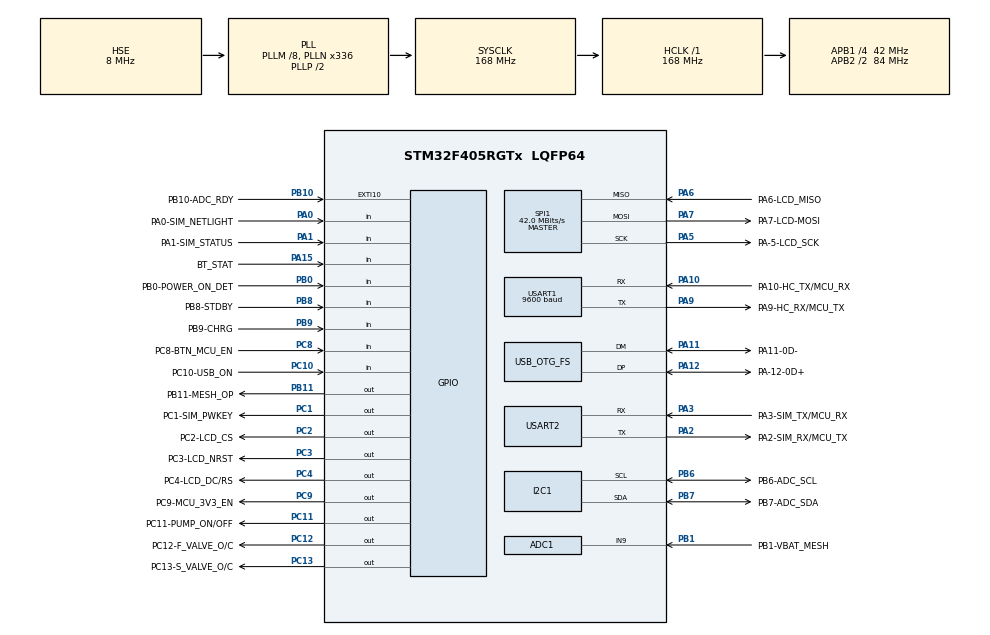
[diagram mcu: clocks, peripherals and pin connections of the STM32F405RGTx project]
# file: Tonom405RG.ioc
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ADC1.Channel-0\#ChannelRegularConversion=ADC_CHANNEL_9
ADC1.NbrOfConversionFlag=1
ADC1.Rank-0\#ChannelRegularConversion=1
ADC1.SamplingTime-0\#ChannelRegularConversion=ADC_SAMPLETIME_3CYCLES
ADC1.master=1
Dma.Request0=SPI1_TX
Dma.SPI1_TX.0.Direction=DMA_MEMORY_TO_PERIPH
Dma.SPI1_TX.0.FIFOMode=DMA_FIFOMODE_ENABLE
Dma.SPI1_TX.0.FIFOThreshold=DMA_FIFO_THRESHOLD_FULL
Dma.SPI1_TX.0.Instance=DMA2_Stream3
Dma.SPI1_TX.0.MemBurst=DMA_MBURST_SINGLE
Dma.SPI1_TX.0.MemDataAlignment=DMA_MDATAALIGN_BYTE
Dma.SPI1_TX.0.MemInc=DMA_MINC_ENABLE
Dma.SPI1_TX.0.Mode=DMA_NORMAL
Dma.SPI1_TX.0.PeriphBurst=DMA_PBURST_SINGLE
Dma.SPI1_TX.0.PeriphDataAlignment=DMA_PDATAALIGN_BYTE
Dma.SPI1_TX.0.PeriphInc=DMA_PINC_DISABLE
Dma.SPI1_TX.0.Priority=DMA_PRIORITY_LOW
IWDG.Prescaler=IWDG_PRESCALER_64
Mcu.Family=STM32F4
Mcu.Name=STM32F405RGTx
Mcu.Package=LQFP64
NVIC.DMA2_Stream3_IRQn=true\:0\:0\:false\:false\:true\:false\:true\:true
NVIC.OTG_FS_IRQn=true\:0\:0\:false\:false\:true\:false\:true\:true
NVIC.PriorityGroup=NVIC_PRIORITYGROUP_4
NVIC.TIM2_IRQn=true\:0\:0\:false\:false\:true\:true\:true\:true
NVIC.TIM3_IRQn=true\:0\:0\:false\:false\:true\:true\:true\:true
NVIC.USART1_IRQn=true\:0\:0\:false\:false\:true\:true\:true\:true
PA0-WKUP.GPIO_Label=PA0-SIM_NETLIGHT
PA0-WKUP.Signal=GPIO_Input
PA1.GPIO_Label=PA1-SIM_STATUS
PA1.Signal=GPIO_Input
PA10.GPIO_Label=PA10-HC_TX/MCU_RX
PA10.Mode=Asynchronous
PA10.Signal=USART1_RX
PA11.GPIO_Label=PA11-0D-
PA11.GPIO_PuPd=GPIO_PULLDOWN
PA11.Mode=Device_Only
PA11.Signal=USB_OTG_FS_DM
PA12.GPIO_Label=PA-12-0D+
PA12.GPIO_PuPd=GPIO_PULLUP
PA12.Mode=Device_Only
PA12.Signal=USB_OTG_FS_DP
PA13.GPIO_Label=PA13-SWDIO
PA13.Mode=Serial_Wire
PA13.Signal=SYS_JTMS-SWDIO
PA14.GPIO_Label=PA14-SWCLK
PA14.Mode=Serial_Wire
PA14.Signal=SYS_JTCK-SWCLK
PA15.GPIO_Label=BT_STAT
PA15.Signal=GPIO_Input
PA2.GPIO_Label=PA2-SIM_RX/MCU_TX
PA2.Mode=Asynchronous
PA2.Signal=USART2_TX
PA3.GPIO_Label=PA3-SIM_TX/MCU_RX
PA3.Mode=Asynchronous
PA3.Signal=USART2_RX
PA5.GPIO_Label=PA-5-LCD_SCK
PA5.Mode=Full_Duplex_Master
PA5.Signal=SPI1_SCK
PA6.GPIO_Label=PA6-LCD_MISO
PA6.Mode=Full_Duplex_Master
PA6.Signal=SPI1_MISO
PA7.GPIO_Label=PA7-LCD-MOSI
PA7.Mode=Full_Duplex_Master
PA7.Signal=SPI1_MOSI
PA9.GPIO_Label=PA9-HC_RX/MCU_TX
PA9.Mode=Asynchronous
PA9.Signal=USART1_TX
PB0.GPIO_Label=PB0-POWER_ON_DET
PB0.Signal=GPIO_Input
PB1.GPIO_Label=PB1-VBAT_MESH
PB1.Signal=SharedAnalog_PB1
PB10.GPIO_Label=PB10-ADC_RDY
PB10.Signal=GPXTI10
PB11.GPIO_Label=PB11-MESH_OP
PB11.Signal=GPIO_Output
PB6.GPIO_Label=PB6-ADC_SCL
PB6.GPIO_Pu=GPIO_PULLUP
PB6.Mode=I2C
PB6.Signal=I2C1_SCL
PB7.GPIO_Label=PB7-ADC_SDA
PB7.GPIO_Pu=GPIO_PULLUP
PB7.Mode=I2C
PB7.Signal=I2C1_SDA
PB8.GPIO_Label=PB8-STDBY
PB8.GPIO_PuPd=GPIO_PULLUP
PB8.Signal=GPIO_Input
PB9.GPIO_Label=PB9-CHRG
PB9.GPIO_PuPd=GPIO_PULLUP
PB9.Signal=GPIO_Input
PC1.GPIO_Label=PC1-SIM_PWKEY
PC1.Signal=GPIO_Output
PC10.GPIO_Label=PC10-USB_ON
PC10.Signal=GPIO_Input
PC11.GPIO_Label=PC11-PUMP_ON/OFF
PC11.Signal=GPIO_Output
PC12.GPIO_Label=PC12-F_VALVE_O/C
PC12.Signal=GPIO_Output
PC13-ANTI_TAMP.GPIO_Label=PC13-S_VALVE_O/C
PC13-ANTI_TAMP.Signal=GPIO_Output
PC14-OSC32_IN.Mode=LSE-External-Oscillator
PC14-OSC32_IN.Signal=RCC_OSC32_IN
PC15-OSC32_OUT.Mode=LSE-External-Oscillator
PC15-OSC32_OUT.Signal=RCC_OSC32_OUT
PC2.GPIO_Label=PC2-LCD_CS
PC2.Signal=GPIO_Output
PC3.GPIO_Label=PC3-LCD_NRST
PC3.Signal=GPIO_Output
PC4.GPIO_Label=PC4-LCD_DC/RS
PC4.Signal=GPIO_Output
PC8.GPIO_Label=PC8-BTN_MCU_EN
PC8.Signal=GPIO_Input
PC9.GPIO_Label=PC9-MCU_3V3_EN
PC9.Signal=GPIO_Output
PH0-OSC_IN.Mode=HSE-External-Oscillator
PH0-OSC_IN.Signal=RCC_OSC_IN
PH1-OSC_OUT.Mode=HSE-External-Oscillator
PH1-OSC_OUT.Signal=RCC_OSC_OUT
ProjectManager.HeapSize=0x2000
ProjectManager.StackSize=0x4000
ProjectManager.TargetToolchain=MDK-ARM V5.32
RCC.48MHZClocksFreq_Value=48000000
RCC.AHBFreq_Value=168000000
RCC.APB1CLKDivider=RCC_HCLK_DIV4
RCC.APB1Freq_Value=42000000
RCC.APB1TimFreq_Value=84000000
RCC.APB2CLKDivider=RCC_HCLK_DIV2
RCC.APB2Freq_Value=84000000
RCC.APB2TimFreq_Value=168000000
RCC.CortexFreq_Value=168000000
RCC.HCLKFreq_Value=168000000
RCC.HSE_VALUE=8000000
RCC.HSI_VALUE=16000000
RCC.PLLM=8
RCC.PLLN=336
RCC.PLLQ=7
RCC.RCC_RTC_Clock_Source=RCC_RTCCLKSOURCE_LSE
RCC.RCC_RTC_Clock_SourceVirtual=RCC_RTCCLKSOURCE_LSE
RCC.SYSCLKFreq_VALUE=168000000
RCC.SYSCLKSource=RCC_SYSCLKSOURCE_PLLCLK
RCC.VCOOutputFreq_Value=336000000
SH.SharedAnalog_PB1.0=GPIO_Analog
SH.SharedAnalog_PB1.1=ADC1_IN9,IN9
SPI1.BaudRatePrescaler=SPI_BAUDRATEPRESCALER_2
SPI1.CalculateBaudRate=42.0 MBits/s
SPI1.Direction=SPI_DIRECTION_2LINES
SPI1.Mode=SPI_MODE_MASTER
SPI1.VirtualType=VM_MASTER
TIM2.Period=31250-1
TIM2.Prescaler=21-1
TIM3.AutoReloadPreload=TIM_AUTORELOAD_PRELOAD_ENABLE
TIM3.Period=9999
TIM3.Prescaler=83
USART1.BaudRate=9600
USART1.VirtualMode=VM_ASYNC
USART2.VirtualMode=VM_ASYNC
USB_DEVICE.APP_RX_DATA_SIZE-CDC_FS=64
USB_DEVICE.APP_TX_DATA_SIZE-CDC_FS=64
USB_DEVICE.CLASS_NAME_FS=CDC
USB_DEVICE.PRODUCT_STRING_CDC_FS=Tonometer Virtual ComPort
USB_DEVICE.VirtualMode-CDC_FS=Cdc
USB_DEVICE.VirtualModeFS=Cdc_FS
USB_OTG_FS.VirtualMode=Device_Only
VP_IWDG_VS_IWDG.Mode=IWDG_Activate
VP_RTC_VS_RTC_Activate.Mode=RTC_Enabled
VP_RTC_VS_RTC_Calendar.Mode=RTC_Calendar
VP_TIM2_VS_ClockSourceINT.Mode=Internal
VP_TIM3_VS_ClockSourceINT.Mode=Internal
VP_USB_DEVICE_VS_USB_DEVICE_CDC_FS.Mode=CDC_FS
board=custom

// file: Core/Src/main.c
/* USER CODE BEGIN Header */
/**
  ******************************************************************************
  * @file           : main.c
  * @brief          : Main program body
  ******************************************************************************
  * @attention
  *
  * Copyright (c) 2023 STMicroelectronics.
  * All rights reserved.
  *
  * This software is licensed under terms that can be found in the LICENSE file
  * in the root directory of this software component.
  * If no LICENSE file comes with this software, it is provided AS-IS.
  *
  ******************************************************************************
  */
/* USER CODE END Header */
#include "main.h"
#include "adc.h"
#include "dma.h"
#include "i2c.h"
#include "iwdg.h"
#include "rtc.h"
#include "spi.h"
#include "tim.h"
#include "usart.h"
#include "usb_device.h"
#include "gpio.h"

/* USER CODE BEGIN Includes */
#include "ili9341.h"
#include "ADS1115.h"
#include "Display.h"
#include "DataProcessing.h"
/* USER CODE END Includes */

void SystemClock_Config(void);

/* USER CODE BEGIN 0 */
uint16_t pulse = 0;

uint32_t *ptrd;
uint8_t serial_num_string[SERIAL_NUM_SIZE]   = {'T','O','N','0','2','0','2','2','2','0','0','1',0};

int16_t puls_buff_NEW[50]={0};
int16_t puls_buff_AMP[50]={0};
int16_t puls_buff_AMP_MIN[50]={0};
int16_t puls_buff_IND_MIN[50]={0};

uint16_t frequency=128;

int16_t p_sys = 0;
int16_t p_dia = 0;
int16_t p_mean;
int index_p_sys = 0;
int index_p_dia = 0;
int16_t x_max;
int16_t current_pressure = 0;
int16_t i2c_out = 0;
int zero_value = 0;
uint8_t indicate_charge_toggle = 1;
uint8_t indicate_charge_counter = 1;
uint8_t bluetooth_status = 0;
uint8_t status_byte = 0;
uint8_t mode = INIT_START;
bool ble_data_ready = false;
uint8_t ble_buffer_counter = 0;
uint8_t sim800_FLAG=0;
uint8_t rang_batt_old = 99;
uint8_t send_buff[100]={0};
uint8_t buff097[10]={0};
uint16_t num_string=0;
uint16_t count_send_bluetooth=0;
short int ble_buffer[BLE_PACKET_SIZE] = {0};
short int pressure_array[MAIN_ARRAY_SIZE] = {0};
uint32_t main_index = 0;
uint32_t first_max;
uint32_t total_size = 0;
short int pressure_pulsation_array[MAIN_ARRAY_SIZE] = {0};
short int envelope_array[MAIN_ARRAY_SIZE] = {0};
uint32_t send_counter = 0;

uint8_t sim800_buffer[SIM800_BUFFER_SIZE] = {0};
uint16_t sim800_buf_counter;
uint8_t brace_counter;

int lock_counter = 0;

uint8_t usb_command;

float rate=24.1;
float rate_whole;
float rate_fract;

bool arrhythmia = false;
bool stop_meas = false;
bool overpumping = false;

uint8_t num_of_packet = 0;
uint8_t current_packet_num = 0;
uint8_t command;
uint8_t byte_num = 0;
uint8_t result_index = 0;
uint8_t index_in_packet = 0;
uint8_t checksum = 0;
uint8_t view_time = 1;

uint8_t mean_interval;

uint8_t get_number_mode = 0;
uint8_t allow_send_data = 0;
uint8_t send_serial_now = 0;

/* USER CODE END 0 */

int main(void)
{

  /* MCU Configuration--------------------------------------------------------*/

  /* Reset of all peripherals, Initializes the Flash interface and the Systick. */
  HAL_Init();

  /* Configure the system clock */
  SystemClock_Config();

  /* Initialize all configured peripherals */
  MX_GPIO_Init();
  MX_DMA_Init();
  MX_RTC_Init();
  MX_ADC1_Init();
  MX_USART1_UART_Init();
  MX_TIM2_Init();
  MX_IWDG_Init();
  MX_SPI1_Init();
  MX_I2C1_Init();
  MX_USART2_UART_Init();
  MX_USB_DEVICE_Init();
  MX_TIM3_Init();
  /* USER CODE BEGIN 2 */
  ILI9341_Init();
  InitADC();
  HAL_TIM_Base_Start_IT(&htim2);
  HAL_TIM_Base_Start_IT(&htim3);

/*  at24_HAL_WriteBytes(&hi2c1, EEPROM_BASE_ADDR, EEPROM_SERIAL_ADDR, serial_num_string, SERIAL_NUM_SIZE);

  at24_HAL_ReadBytes(&hi2c1, EEPROM_BASE_ADDR, EEPROM_SERIAL_ADDR, serial_num_string, SERIAL_NUM_SIZE);

  if ((uint32_t*)serial_num_string != 0xFFFFFFFF)
  {
       at24_HAL_ReadBytes(&hi2c1, EEPROM_BASE_ADDR, EEPROM_RATE_ADDR, &rate, sizeof(float));
  }*/

  __HAL_UART_ENABLE_IT(&huart1, UART_IT_RXNE); //М.б. не нужно? Проверить
  __HAL_UART_ENABLE_IT(&huart2, UART_IT_RXNE); //М.б. не нужно? Проверить

    if (mode == USB_CHARGING)
    {
        ILI9341_FillScreen(ILI9341_BLACK);
        print_battery();
    }
    else ILI9341_FillScreen(ILI9341_WHITE);
    Calibration();

  /* USER CODE END 2 */

  /* Infinite loop */
  while (1)
  {

    /* USER CODE BEGIN 3 */
        HAL_IWDG_Refresh(&hiwdg);
        switch (mode)
        {
            case INIT_START:
                HAL_TIM_Base_Start_IT(&htim2);
                if (!button_pressed)
                {
                    mode = START_SCREEN;
//                    mode = PRESSURE_TEST;
                    allow_send_data = 0;
                    button_released = 0;
                    button_pressed_counter = 0;
                }
                break;
            case START_SCREEN:
                BluetoothCheck();
                TFT_print();
// Переход в режим зарядки при подключении USB разъема
#ifndef DEBUG
                if (HAL_GPIO_ReadPin(GPIOC, GPIO_PIN_10))
                {
                    ILI9341_FillScreen(ILI9341_BLACK);
                    print_battery();
                    mode = USB_CHARGING;
                }
#endif
                if (button_released)
                {
                    view_time = 0;
//                    HAL_UART_Transmit_IT(&huart2, "AT\r", 3);

                    ILI9341_FillRectangle(0, 0, 240, 280, ILI9341_WHITE);
                    ILI9341_FillRectangle(100, 270, 140, 50, ILI9341_WHITE);

                    count_send_bluetooth=0;

                    current_pressure=0;
                    Calibration();
                    PUMP_ON;
                    VALVE_FAST_CLOSE;
                    VALVE_SLOW_CLOSE;
                    lock_interval=50;
                    ResetDetector();
                    puls_counter=0;
                    stop_meas = false;
                    mode = PUMPING_MANAGEMENT;
                    button_released = 0;
                    button_pressed_counter = 0;
                }
                break;
            case KEY_OFF:
                DeviceOff();
                break;
            case PUMPING_MANAGEMENT:
                shutdown_counter = 0;
                ILI9341_FillRectangle(65, 245, 45, 27, ILI9341_WHITE);

                if (button_released)
                {
                    if (current_pressure < MAX_ALLOWED_PRESSURE) overpumping = false;
                    if (overpumping)
                    {
                        StopPumping();
                        break;
                    }
                    else AbortMeas();
                }
                if (show_pressure_counter == 0)
                {
                    show_pressure_counter = SHOW_PRESSURE_INTERVAL;
                    if (current_pressure >= 0 & current_pressure<400) PrintNum(current_pressure, BIG_NUM_RIGHT, DIA_TOP, GREEN);
                }

                if (!overpumping)
                {
                    if (current_pressure >= MAX_ALLOWED_PRESSURE && process_counter > MIN_PUMPING_INTERVAL)
                    {
                        StopPumping();
                    }
                }
                if (current_pressure >= SUPER_MAX_ALLOWED_PRESSURE)
                {
                    StopPumping();
                }
                BluetoothCheck();
                break;
            case USB_CHARGING:
                shutdown_counter = 0;
                PrintBattCharge();
                HAL_Delay(1500);
                if (HAL_GPIO_ReadPin(GPIOC, GPIO_PIN_10)==0) DeviceOff();
                break;
            case PRESSURE_TEST:
                shutdown_counter = 0;
                GetADCData(false);
                PrintNum(current_pressure, BIG_NUM_RIGHT, DIA_TOP, GREEN);
                if (allow_send_data == 1) usb_send_16(i2c_out,0);
                HAL_Delay(200);

                PrintTime();
                ILI9341_WriteString(TIME_LEFT, TIME_TOP + 25, serial_num_string, Font_Arial, ILI9341_BLACK, ILI9341_WHITE);
                if (usb_command == USB_COMMAND_SET_RATE)
                {
                    rate = rate_whole + rate_fract / 100;
                    at24_HAL_WriteBytes(&hi2c1, EEPROM_BASE_ADDR, EEPROM_RATE_ADDR, rate, sizeof(float));
                    mode = KEY_OFF;
                }
                break;
            case MEASUREMENT:
                shutdown_counter = 0;
                if (button_released)
                {
                    if (current_pressure < MAX_ALLOWED_PRESSURE + 5) AbortMeas();
                    button_pressed_counter = 0;
                    button_released = 0;
                    overpumping = false;
                }
                if (show_pressure_counter == 0)
                {
                    show_pressure_counter = SHOW_PRESSURE_INTERVAL;
                    if (current_pressure>=0 & current_pressure<400) PrintNum(current_pressure, BIG_NUM_RIGHT, DIA_TOP, GREEN);
                }
                if (ble_data_ready)
                {
                    if (count_send_bluetooth < 2)
                    {
                        ble_data_ready = false;
                        count_send_bluetooth++;
                    }
                    else
                    {
                        ble_data_ready = false;
                        uint8_t c_summ=0;
                        uint8_t cur_buff_ble[400]={'0', '2', 0x05, (count_send_bluetooth - 2) & 0xFF, ((count_send_bluetooth - 2) >> 8) & 0xFF, BLE_PACKET_SIZE};

                        for (int f = 0; f < BLE_PACKET_SIZE; f++)
                        {
                            int16_t cur_press = ble_buffer[f];
                            cur_buff_ble[6 + f * 2] = cur_press & 0xFF;
                            cur_buff_ble[6 + f * 2 + 1] = (cur_press >> 8) & 0xFF;
                        }
                        for (int f=0; f < BLE_PACKET_SIZE * 2 + 6; f++)
                        {
                            c_summ+=cur_buff_ble[f];
                        }
                        cur_buff_ble[BLE_PACKET_SIZE * 2 + 6] = c_summ;
                        HAL_UART_Transmit_IT(&huart1, cur_buff_ble, BLE_PACKET_SIZE * 2 + 6 + 1);
                        count_send_bluetooth++;
                    }
                }
                if (current_pressure <= STOP_MEAS_LEVEL || stop_meas)
                {
                    total_size = main_index;
                    current_max=0;
                    global_max=0;
                    detect_level=detect_level_start;
                    silence_time_start=0;
                    puls_counter=0;

                    for (int i = 0; i < total_size; i++)
                    {
                        Detect(first_max, i);
                    }

                    ILI9341_FillRectangle(SYS_DIA_LEFT, SYS_TOP, 180, 106, ILI9341_WHITE);
                    ILI9341_FillRectangle(SYS_DIA_LEFT, DIA_TOP, 180, 106, ILI9341_WHITE);
                    ILI9341_FillRectangle(PULSE_LEFT, PULSE_TOP, 123, 64, ILI9341_WHITE);

                    memset(envelope_array, 0, MAIN_ARRAY_SIZE);
                    GetArrayOfWaveIndexes(pressure_pulsation_array, puls_buff, puls_buff_NEW);
                    f_sorting_MAX();
                    CountEnvelopeArray(puls_buff_NEW,puls_buff_AMP);

                    pulse = CountPulse();
                    GetSysDia();
                    status_byte=0;
                    if (p_sys > MIN_SYS &
                        p_sys < MAX_SYS &
                        p_dia > MIN_DIA &
                        p_dia < MAX_DIA &
                        pulse > MIN_PULSE &
                        pulse < MAX_PULSE)
                    {
                        PrintSYS_label(true);
                        PrintDIA_label(true);
                        PrintSYS(p_sys);
                        PrintDIA(p_dia);
                        PrintNum((int16_t)pulse, BIG_NUM_RIGHT, PULSE_TOP, BLACK);

                        if (arrhythmia)
                        {
                            PrintHeartX3(true);
                            status_byte |= IRREG_PULSE;
                        }
                        SendResultAT();
                    }
                    else
                    {
                        status_byte|=0x80;
                        PrintError(ERROR_MEAS);
                    }
                    SendMeasurementResult((uint8_t)p_sys, (uint8_t)p_dia, (uint8_t)pulse,status_byte);
                    SendResultHttp(p_sys, p_dia, pulse);
                    VALVE_FAST_OPEN;
                    VALVE_SLOW_OPEN;
#ifdef DEBUG
                    mode = SEND_SAVE_BUFF_MSG;
#else
                        mode = INIT_START;
#endif
                }
                BluetoothCheck();
                break;
            case SEND_SAVE_BUFF_MSG:
                shutdown_counter = 0;
                break;
        }

        if (uart1_count > 0)
        {
           __HAL_UART_DISABLE_IT(&huart1, UART_IT_RXNE);
           BLECommandsReceiver(uart1_buff);
           __HAL_UART_ENABLE_IT(&huart1, UART_IT_RXNE);
        }

        if (show_heart)
        {
            PrintHeart(true);
            show_heart = false;
        }

        if (erase_heart)
        {
            PrintHeart(false);
            erase_heart = false;
        }
  }
  /* USER CODE END 3 */
}

void SystemClock_Config(void)
{
  RCC_OscInitTypeDef RCC_OscInitStruct = {0};
  RCC_ClkInitTypeDef RCC_ClkInitStruct = {0};

  /** Configure the main internal regulator output voltage
  */
  __HAL_RCC_PWR_CLK_ENABLE();
  __HAL_PWR_VOLTAGESCALING_CONFIG(PWR_REGULATOR_VOLTAGE_SCALE1);

  /** Initializes the RCC Oscillators according to the specified parameters
  * in the RCC_OscInitTypeDef structure.
  */
  RCC_OscInitStruct.OscillatorType = RCC_OSCILLATORTYPE_LSI|RCC_OSCILLATORTYPE_HSE
                              |RCC_OSCILLATORTYPE_LSE;
  RCC_OscInitStruct.HSEState = RCC_HSE_ON;
  RCC_OscInitStruct.LSEState = RCC_LSE_ON;
  RCC_OscInitStruct.LSIState = RCC_LSI_ON;
  RCC_OscInitStruct.PLL.PLLState = RCC_PLL_ON;
  RCC_OscInitStruct.PLL.PLLSource = RCC_PLLSOURCE_HSE;
  RCC_OscInitStruct.PLL.PLLM = 8;
  RCC_OscInitStruct.PLL.PLLN = 336;
  RCC_OscInitStruct.PLL.PLLP = RCC_PLLP_DIV2;
  RCC_OscInitStruct.PLL.PLLQ = 7;
  if (HAL_RCC_OscConfig(&RCC_OscInitStruct) != HAL_OK)
  {
    Error_Handler();
  }

  /** Initializes the CPU, AHB and APB buses clocks
  */
  RCC_ClkInitStruct.ClockType = RCC_CLOCKTYPE_HCLK|RCC_CLOCKTYPE_SYSCLK
                              |RCC_CLOCKTYPE_PCLK1|RCC_CLOCKTYPE_PCLK2;
  RCC_ClkInitStruct.SYSCLKSource = RCC_SYSCLKSOURCE_PLLCLK;
  RCC_ClkInitStruct.AHBCLKDivider = RCC_SYSCLK_DIV1;
  RCC_ClkInitStruct.APB1CLKDivider = RCC_HCLK_DIV4;
  RCC_ClkInitStruct.APB2CLKDivider = RCC_HCLK_DIV2;

  if (HAL_RCC_ClockConfig(&RCC_ClkInitStruct, FLASH_LATENCY_5) != HAL_OK)
  {
    Error_Handler();
  }
}

/* USER CODE BEGIN 4 */

void SendSerialAT(uint8_t *serial_buf)
{
    uint8_t cur_buff[30] = {'A','T','+','N','A','M','E','='};
    strncat(cur_buff, serial_buf, SERIAL_NUM_SIZE - 1); //Приклеиваем серийный номер без финального нуля
    strncat(cur_buff, "\n", 2);
    HAL_UART_Transmit_IT(&huart1, cur_buff, strlen(cur_buff));
}

uint8_t BLECommandsReceiver(uint8_t *buff)
{
    const uint8_t top = 20;
    const uint8_t left = 20;
    const uint8_t step = 35;
    uint8_t timestr[20]={0};

    if (get_number_mode)
    {
        get_number_mode = 0;
        for (int i = 0; i < uart1_count; i++)
        {
            serial_num_string[i] = buff[i];
        }
        serial_num_string[uart1_count - 1] = 0;
        uart1_count = 0;
        return 0;
    }

    for (int i = 0; i < uart1_count; i++)
    {
        checksum += buff[i];
        switch (byte_num)
        {
            case 0:
                if (buff[i] == '0') byte_num = 1;
                checksum = buff[i];
                index_in_packet = 0;
                break;
            case 1:
                if (buff[i] == '2') byte_num = 2;
                break;
            case 2:
                command = buff[i];
                byte_num = 3;
                break;
            case 3:
                num_of_packet = buff[i];
                current_packet_num++;
                byte_num = 4;
                break;
            case 4:
                byte_num = 5;
                break;
        }
        if (byte_num == 5)
        {
            send_buff[result_index] = buff[i];
            result_index++;
            if (command == BLE_CMD_SERIAL)
            {
                if (result_index == 7) //длина номера без '0' и '2'
                {
                    if (checksum == buff[i + 1])
                    {
                        for (uint8_t j = 0; j < 7; j++)
                        {
                            serial_num_string[j + 5] = send_buff[j]; //"TON02" уже в буфере.
                        }
                        at24_HAL_WriteBytes(&hi2c1, EEPROM_BASE_ADDR, EEPROM_SERIAL_ADDR, serial_num_string, SERIAL_NUM_SIZE);
                        SendSerialAT(serial_num_string);
                        HAL_Delay(200);
                        DeviceOff();
                    }
                }
            }
            if (command == BLE_CMD_DATETIME)
            {
                if (result_index == 6) //длина буфера
                {
                    if (checksum == buff[i + 2])
                    {
                        RTC_TimeTypeDef sTime = {0};
                        RTC_DateTypeDef sDate = {0};
                        sDate.Year = send_buff[0];
                        sDate.Month = send_buff[1];
                        sDate.Date = send_buff[2];
                        sTime.Hours = send_buff[3];
                        sTime.Minutes = send_buff[4];
                        sTime.Seconds = send_buff[5];
                        if (HAL_RTC_SetTime(&hrtc, &sTime, RTC_FORMAT_BIN) != HAL_OK)
                        {
                            Error_Handler();
                        }
                        if (HAL_RTC_SetDate(&hrtc, &sDate, RTC_FORMAT_BIN) != HAL_OK)
                        {
                            Error_Handler();
                        }
                        sprintf(timestr, "%02d:%02d:%02d  %02d.%02d.20%d", sTime.Hours, sTime.Minutes, sTime.Seconds, sDate.Date, sDate.Month, sDate.Year);
                        ILI9341_WriteString(TIME_LEFT, TIME_TOP, timestr, Font_Arial, ILI9341_RED, ILI9341_WHITE);
                        ResetBLEReceiver();
                        uart1_count = 0;
                        return 1;
                    }
                }
            }
            if (command >= BLE_CMD_SET + F_URL && command <= BLE_CMD_SET + F_ID)
            {
                if (index_in_packet == BLE_PACKET_SIZE - 2)
                {
                    index_in_packet = 0;
                    byte_num = 0;
                }
                if (buff[i] == 0)
                {
                    if (checksum == buff[i + 1])
                    {
                        at24_HAL_WriteBytes(&hi2c1, EEPROM_BASE_ADDR, (command - BLE_CMD_SET) * EEPROM_CELL_SIZE, send_buff, EEPROM_CELL_SIZE);
                        ILI9341_WriteString(left, step / 2 + (command - 6) * step, send_buff, Font_Arial, ILI9341_RED, ILI9341_WHITE);
                        ResetBLEReceiver();
                    }
                }
            }
            if (command >= BLE_CMD_GET + F_URL && command <= BLE_CMD_GET + F_ID)
            {
                if (buff[i + 1] == checksum)
                {
                    at24_HAL_WriteBytes(&hi2c1, EEPROM_BASE_ADDR, command - BLE_CMD_SET, send_buff, EEPROM_CELL_SIZE);
                    HAL_UART_Transmit_IT(&huart1, send_buff, 10);
                    ResetBLEReceiver();
                }
            }
        }
        index_in_packet++;
    }
    uart1_count = 0;
}

void ResetBLEReceiver()
{
    checksum = 0;
    byte_num = 0;
    index_in_packet = 0;
    current_packet_num = 0;
    result_index = 0;
}

void SendMeasurementResult(int16_t sis, int16_t dia, int16_t pressure, int16_t bonus)
{
    RTC_TimeTypeDef sTime = {0};
    HAL_RTC_GetTime(&hrtc, &sTime, RTC_FORMAT_BIN);
    RTC_DateTypeDef sDate = {0};
    HAL_RTC_GetDate(&hrtc, &sDate, RTC_FORMAT_BIN);

    uint8_t cur_buff[13]={'0','2', 0x01, sDate.Date, sDate.Month, sDate.Year, sTime.Seconds, sTime.Minutes, sTime.Hours, sis, dia, pressure, bonus};
    uint8_t c_summ=0;
    for (int q = 0; q < 13; q++)
    {
       c_summ += cur_buff[q];
    }
    cur_buff[13] = c_summ;
    HAL_UART_Transmit_IT(&huart1, cur_buff, 14);
}

void SendResultAT()
{
    RTC_TimeTypeDef sTime = {0};
    HAL_RTC_GetTime(&hrtc, &sTime, RTC_FORMAT_BIN);
    RTC_DateTypeDef sDate = {0};
    HAL_RTC_GetDate(&hrtc, &sDate, RTC_FORMAT_BIN);

    uint8_t buff[50] = {0};
    sprintf(buff, "AT+RESULT=%02d.%02d.%02d_%02d:%02d:%d,%d,%d,%d,%d,%d\n", sDate.Date, sDate.Month, sDate.Year,
                                                                            sTime.Hours, sTime.Minutes, sTime.Seconds,
                                                                            p_sys, p_dia, p_mean, pulse, status_byte);
    HAL_UART_Transmit_IT(&huart1, buff, strlen(buff));
}

void StopPumping()
{
    ResetDetector();
    puls_counter=0;
    stop_meas = false;
    PUMP_OFF;
    VALVE_SLOW_OPEN;
    count_send_bluetooth = 0;
    mode = MEASUREMENT;
}

void AbortMeas(void)
{
    PUMP_OFF;
    VALVE_FAST_OPEN;
    VALVE_SLOW_OPEN;
    button_released = 0;
    button_pressed_counter = 0;
    mode = START_SCREEN;
    PrintNum(0, BIG_NUM_RIGHT, DIA_TOP, GREEN);
}

void usb_send_16(short int T1, short int T2)
{
    uint8_t send_H1 = (T1 >> 8) & 0xFF;
    uint8_t send_L1 = T1 & 0xFF;
    uint8_t send_H2 = (T2 >> 8) & 0xFF;
    uint8_t send_L2 = T2 & 0xFF;
    uint8_t send_buff[5] = {25, send_L1, send_H1, send_L2, send_H2};
    CDC_Transmit_FS(send_buff, 5);
}

void DeviceOff(void)
{
    PUMP_OFF;
    VALVE_FAST_OPEN;
    VALVE_SLOW_OPEN;
    ILI9341_FillScreen(ILI9341_BLACK);
    HAL_GPIO_WritePin(GPIOC, GPIO_PIN_9, GPIO_PIN_RESET);
}

void BluetoothCheck()
{
    if (bluetooth_status != HAL_GPIO_ReadPin(GPIOA, GPIO_PIN_9))
    {
        bluetooth_status != HAL_GPIO_ReadPin(GPIOA, GPIO_PIN_9);
        PrintBluetooth(bluetooth_status);
    }
}

/* USER CODE END 4 */

void Error_Handler(void)
{
  __disable_irq();
  while (1)
  {
  }
}
